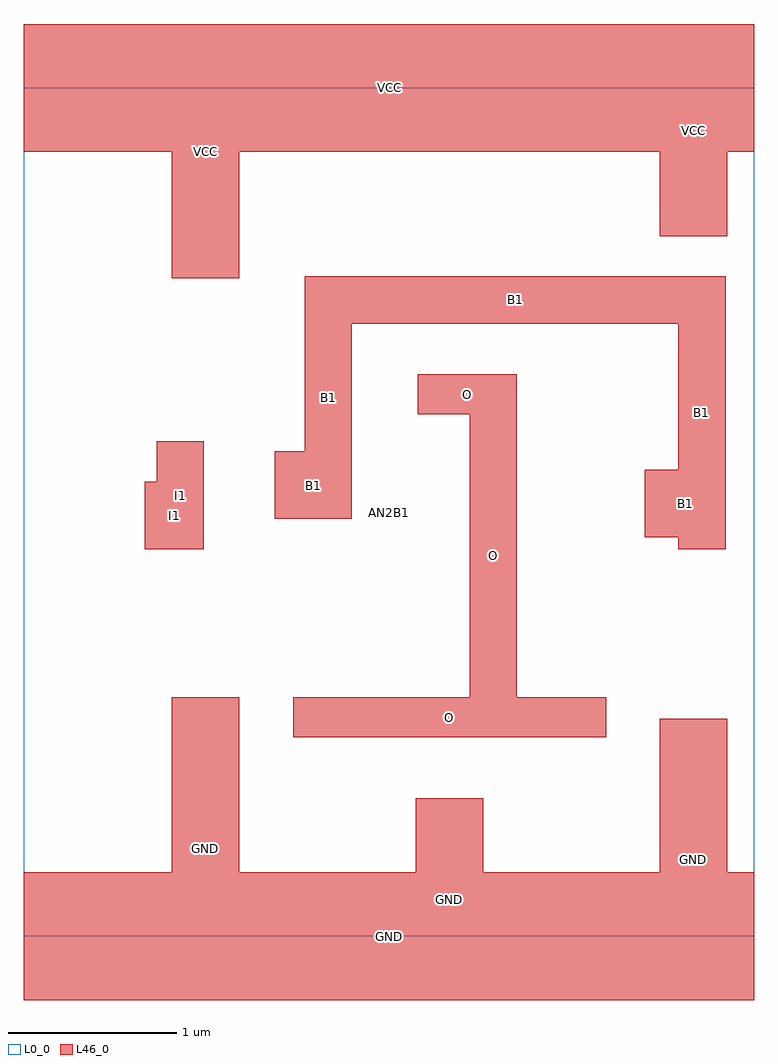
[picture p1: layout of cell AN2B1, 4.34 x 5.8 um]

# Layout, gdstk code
import gdstk
lib = gdstk.Library(unit=1e-6, precision=1e-09)
def R(c, l, rs):  # rectangles x0, y0, x1, y1
    for r in rs: c.add(gdstk.rectangle(r[:2], r[2:], *l))
L0_0 = (0, 0)
L46_0 = (46, 0)

an2b1 = lib.new_cell('AN2B1')
R(an2b1, L0_0, [(0,0,4.34,5.04)])
R(an2b1, L46_0, [(0,-0.38,4.34,0.38), (0.88,-0.38,1.28,1.42), (2.33,-0.38,2.73,0.82), (3.78,-0.38,4.18,1.29), (1.6,1.18,3.46,1.42), (2.65,1.18,2.93,3.34), (0.72,2.3,1.07,2.7), (0.79,2.3,1.07,2.94), (3.89,2.3,4.17,3.92), (3.69,2.37,4.17,2.77), (1.49,2.48,1.95,2.88), (1.67,2.48,1.95,3.92), (2.34,3.1,2.93,3.34), (1.67,3.64,4.17,3.92), (0.88,3.91,1.28,5.42), (3.78,4.16,4.18,5.42), (0,4.66,4.34,5.42)])
an2b1.add(gdstk.Label('AN2B1', (2.17,2.52), layer=0, texttype=0))
an2b1.add(gdstk.Label('O', (2.635,3.22), layer=101, texttype=0))
an2b1.add(gdstk.Label('O', (2.53,1.3), layer=101, texttype=0))
an2b1.add(gdstk.Label('O', (2.79,2.26), layer=101, texttype=0))
an2b1.add(gdstk.Label('I1', (0.93,2.62), layer=101, texttype=0))
an2b1.add(gdstk.Label('I1', (0.895,2.5), layer=101, texttype=0))
an2b1.add(gdstk.Label('B1', (1.81,3.2), layer=101, texttype=0))
an2b1.add(gdstk.Label('B1', (3.93,2.57), layer=101, texttype=0))
an2b1.add(gdstk.Label('B1', (4.03,3.11), layer=101, texttype=0))
an2b1.add(gdstk.Label('B1', (2.92,3.78), layer=101, texttype=0))
an2b1.add(gdstk.Label('B1', (1.72,2.68), layer=101, texttype=0))
an2b1.add(gdstk.Label('GND', (2.53,0.22), layer=101, texttype=0))
an2b1.add(gdstk.Label('GND', (3.98,0.455), layer=101, texttype=0))
an2b1.add(gdstk.Label('GND', (2.17,0), layer=101, texttype=0))
an2b1.add(gdstk.Label('GND', (1.08,0.52), layer=101, texttype=0))
an2b1.add(gdstk.Label('VCC', (3.98,4.79), layer=101, texttype=0))
an2b1.add(gdstk.Label('VCC', (2.17,5.04), layer=101, texttype=0))
an2b1.add(gdstk.Label('VCC', (1.08,4.665), layer=101, texttype=0))

lib.write_gds('AN2B1.gds')
